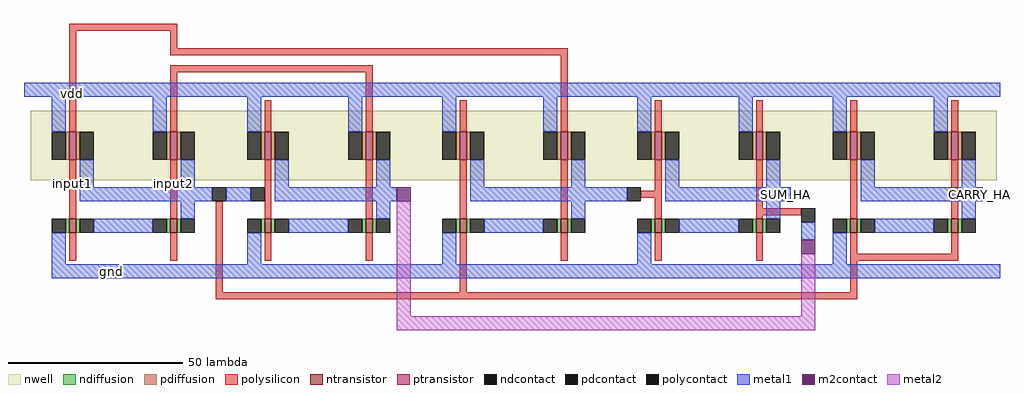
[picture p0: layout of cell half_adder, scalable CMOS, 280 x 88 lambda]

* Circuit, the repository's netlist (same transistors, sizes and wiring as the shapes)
.include 22nm_MGK.pm
.param SUPPLY = 1

vDD VDD GND 'SUPPLY'

va input1 0 pulse 0 SUPPLY 10ns 100ps 100ps 5ns 20ns

vb input2 0 pulse 0 SUPPLY 0ns 100ps 100ps 10ns 20ns

.option scale = 0.01u

M1000 nand_0/out input1 vdd w_n10_n12# pmos w=8 l=2
+  ad=80 pd=52 as=400 ps=260
M1001 nand_0/out nand_2/input2 vdd w_n10_n12# pmos w=8 l=2
+  ad=0 pd=0 as=0 ps=0
M1002 nand_0/out input1 nand_0/a_3_n27# Gnd nmos w=4 l=2
+  ad=20 pd=18 as=40 ps=36
M1003 nand_0/a_3_n27# nand_2/input2 gnd Gnd nmos w=4 l=2
+  ad=0 pd=0 as=100 ps=90
M1004 SUM_HA nand_1/input2 vdd w_n10_n12# pmos w=8 l=2
+  ad=80 pd=52 as=0 ps=0
M1005 SUM_HA nand_0/out vdd w_n10_n12# pmos w=8 l=2
+  ad=0 pd=0 as=0 ps=0
M1006 SUM_HA nand_1/input2 nand_1/a_3_n27# Gnd nmos w=4 l=2
+  ad=20 pd=18 as=40 ps=36
M1007 nand_1/a_3_n27# nand_0/out gnd Gnd nmos w=4 l=2
+  ad=0 pd=0 as=0 ps=0
M1008 CARRY_HA nand_2/input2 vdd w_n10_n12# pmos w=8 l=2
+  ad=80 pd=52 as=0 ps=0
M1009 CARRY_HA nand_2/input2 vdd w_n10_n12# pmos w=8 l=2
+  ad=0 pd=0 as=0 ps=0
M1010 CARRY_HA nand_2/input2 nand_2/a_3_n27# Gnd nmos w=4 l=2
+  ad=20 pd=18 as=40 ps=36
M1011 nand_2/a_3_n27# nand_2/input2 gnd Gnd nmos w=4 l=2
+  ad=0 pd=0 as=0 ps=0
M1012 nand_2/input2 input2 vdd w_n10_n12# pmos w=8 l=2
+  ad=80 pd=52 as=0 ps=0
M1013 a_59_n27# nand_2/input2 gnd Gnd nmos w=4 l=2
+  ad=40 pd=36 as=0 ps=0
M1014 nand_2/input2 input1 vdd w_n10_n12# pmos w=8 l=2
+  ad=0 pd=0 as=0 ps=0
M1015 nand_1/input2 input2 a_59_n27# Gnd nmos w=4 l=2
+  ad=20 pd=18 as=0 ps=0
M1016 nand_2/input2 input2 a_3_n27# Gnd nmos w=4 l=2
+  ad=20 pd=18 as=40 ps=36
M1017 a_3_n27# input1 gnd Gnd nmos w=4 l=2
+  ad=0 pd=0 as=0 ps=0
M1018 nand_1/input2 nand_2/input2 vdd w_n10_n12# pmos w=8 l=2
+  ad=80 pd=52 as=0 ps=0
M1019 nand_1/input2 input2 vdd w_n10_n12# pmos w=8 l=2
+  ad=0 pd=0 as=0 ps=0

.tran 0.1ns 100ns
.control
run

plot v( SUM_HA)+4 v(CARRY_HA)+6 v(input1)+2 v(input2) 

.endc

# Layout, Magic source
magic
tech scmos
<< nwell >>
rect -10 -12 106 8
rect 152 -12 163 8
rect 208 -12 219 8
<< polysilicon >>
rect 1 31 32 33
rect 1 2 3 31
rect 30 26 32 31
rect 30 24 144 26
rect 30 19 88 21
rect 30 2 32 19
rect 57 2 59 11
rect 86 2 88 19
rect 142 9 144 24
rect 1 -23 3 -6
rect 30 -23 32 -6
rect 1 -35 3 -27
rect 30 -35 32 -27
rect 43 -44 45 -18
rect 57 -23 59 -6
rect 86 -23 88 -6
rect 165 -17 171 -15
rect 198 -22 211 -20
rect 57 -35 59 -27
rect 86 -35 88 -27
rect 113 -44 115 -34
rect 225 -35 256 -33
rect 225 -44 227 -35
rect 43 -46 227 -44
<< ndiffusion >>
rect 0 -27 1 -23
rect 3 -27 4 -23
rect 29 -27 30 -23
rect 32 -27 33 -23
rect 56 -27 57 -23
rect 59 -27 60 -23
rect 85 -27 86 -23
rect 88 -27 89 -23
<< pdiffusion >>
rect 0 -6 1 2
rect 3 -6 4 2
rect 29 -6 30 2
rect 32 -6 33 2
rect 56 -6 57 2
rect 59 -6 60 2
rect 85 -6 86 2
rect 88 -6 89 2
<< metal1 >>
rect -12 12 100 16
rect -4 2 0 12
rect 25 2 29 12
rect 52 2 56 12
rect 81 2 85 12
rect 4 -14 8 -6
rect 33 -14 37 -6
rect 60 -14 64 -6
rect 89 -14 93 -6
rect 4 -18 42 -14
rect 46 -18 53 -14
rect 60 -18 95 -14
rect 149 -18 161 -14
rect 205 -18 208 -14
rect 261 -18 263 -14
rect 33 -23 37 -18
rect 89 -23 93 -18
rect 8 -27 25 -23
rect 64 -27 81 -23
rect -4 -36 0 -27
rect 52 -36 56 -27
rect 211 -29 215 -24
rect -4 -40 113 -36
rect 153 -40 174 -36
rect 207 -40 228 -36
<< metal2 >>
rect 95 -51 99 -18
rect 211 -51 215 -33
rect 95 -55 215 -51
<< ntransistor >>
rect 1 -27 3 -23
rect 30 -27 32 -23
rect 57 -27 59 -23
rect 86 -27 88 -23
<< ptransistor >>
rect 1 -6 3 2
rect 30 -6 32 2
rect 57 -6 59 2
rect 86 -6 88 2
<< polycontact >>
rect 42 -18 46 -14
rect 53 -18 57 -14
rect 161 -18 165 -14
rect 211 -24 215 -20
<< ndcontact >>
rect -4 -27 0 -23
rect 4 -27 8 -23
rect 25 -27 29 -23
rect 33 -27 37 -23
rect 52 -27 56 -23
rect 60 -27 64 -23
rect 81 -27 85 -23
rect 89 -27 93 -23
<< pdcontact >>
rect -4 -6 0 2
rect 4 -6 8 2
rect 25 -6 29 2
rect 33 -6 37 2
rect 52 -6 56 2
rect 60 -6 64 2
rect 81 -6 85 2
rect 89 -6 93 2
<< m2contact >>
rect 95 -18 99 -14
rect 211 -33 215 -29
use nand  nand_2
transform 1 0 224 0 1 0
box -12 -40 44 16
use nand  nand_1
transform 1 0 168 0 1 0
box -12 -40 44 16
use nand  nand_0
transform 1 0 112 0 1 0
box -12 -40 44 16
<< labels >>
rlabel metal1 2 13 2 13 5 vdd
rlabel polysilicon 31 -13 31 -13 1 input2
rlabel metal1 13 -38 13 -38 1 gnd
rlabel polysilicon 2 -13 2 -13 1 input1
rlabel metal1 205 -18 208 -14 1 SUM_HA
rlabel metal1 261 -18 263 -14 1 CARRY_HA
<< end >>

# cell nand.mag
magic
tech scmos
<< nwell >>
rect -10 -12 43 8
<< polysilicon >>
rect 1 2 3 11
rect 30 2 32 11
rect 1 -23 3 -6
rect 30 -23 32 -6
rect 1 -35 3 -27
rect 30 -35 32 -27
<< ndiffusion >>
rect 0 -27 1 -23
rect 3 -27 4 -23
rect 29 -27 30 -23
rect 32 -27 33 -23
<< pdiffusion >>
rect 0 -6 1 2
rect 3 -6 4 2
rect 29 -6 30 2
rect 32 -6 33 2
<< metal1 >>
rect -12 12 44 16
rect -4 2 0 12
rect 25 2 29 12
rect 4 -14 8 -6
rect 33 -14 37 -6
rect 4 -18 37 -14
rect 33 -23 37 -18
rect 8 -27 25 -23
rect -4 -36 0 -27
rect -4 -40 44 -36
<< ntransistor >>
rect 1 -27 3 -23
rect 30 -27 32 -23
<< ptransistor >>
rect 1 -6 3 2
rect 30 -6 32 2
<< ndcontact >>
rect -4 -27 0 -23
rect 4 -27 8 -23
rect 25 -27 29 -23
rect 33 -27 37 -23
<< pdcontact >>
rect -4 -6 0 2
rect 4 -6 8 2
rect 25 -6 29 2
rect 33 -6 37 2
<< labels >>
rlabel metal1 2 13 2 13 5 vdd
rlabel metal1 36 -15 36 -15 1 out
rlabel polysilicon 31 -13 31 -13 1 input2
rlabel metal1 13 -38 13 -38 1 gnd
rlabel polysilicon 2 -13 2 -13 1 input1
<< end >>
